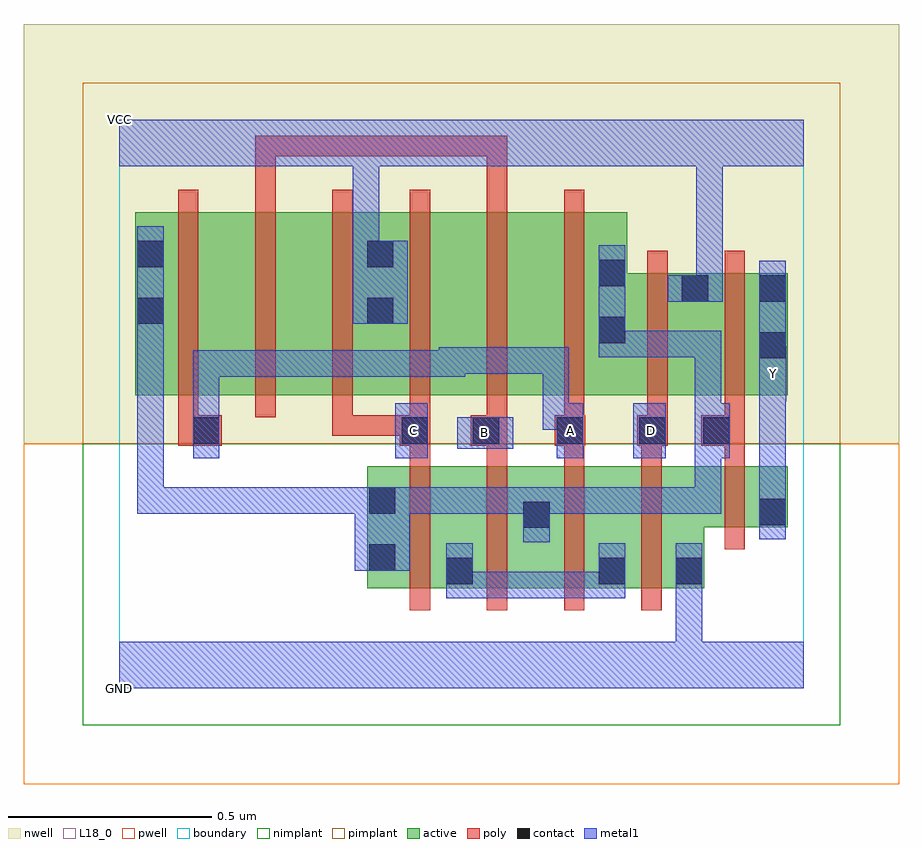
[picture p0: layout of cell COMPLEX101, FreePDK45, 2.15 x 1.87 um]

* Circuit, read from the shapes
.subckt COMPLEX101 A B C D GND VCC Y
M1 n1 C n2 VSUBS nfet w=0.3u l=0.05u
M2 n2 B n1 VSUBS nfet w=0.3u l=0.05u
M3 n1 A n2 VSUBS nfet w=0.3u l=0.05u
M4 GND D n1 VSUBS nfet w=0.3u l=0.05u
M5 Y n2 GND VSUBS nfet w=0.15u l=0.05u
M6 n3 A n2 n4 pfet w=0.45u l=0.05u
M7 n5 B n3 n4 pfet w=0.45u l=0.05u
M8 VCC C n5 n4 pfet w=0.45u l=0.05u
M9 n6 C VCC n4 pfet w=0.45u l=0.05u
M10 n7 B n6 n4 pfet w=0.45u l=0.05u
M11 n2 A n7 n4 pfet w=0.45u l=0.05u
M12 VCC D n2 n4 pfet w=0.3u l=0.05u
M13 Y n2 VCC n4 pfet w=0.3u l=0.05u
.ends

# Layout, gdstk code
import gdstk
lib = gdstk.Library(unit=1e-6, precision=1e-09)
def R(c, l, rs):  # rectangles x0, y0, x1, y1
    for r in rs: c.add(gdstk.rectangle(r[:2], r[2:], *l))
def A(c, l, x, y, w, h, nx, ny, dx, dy):  # array of equal rectangles
    R(c, l, [(x+i*dx, y+j*dy, x+i*dx+w, y+j*dy+h) for i in range(nx) for j in range(ny)])
active = (1, 0)
pwell = (2, 0)
nwell = (3, 0)
nimplant = (4, 0)
pimplant = (5, 0)
poly = (9, 0)
contact = (10, 0)
metal1 = (11, 0)
L18_0 = (18, 0)
boundary = (235, 0)

complex101 = lib.new_cell('COMPLEX101')
R(complex101, active, [(0.61,0.247,0.875,0.547), (0.61,0.247,0.685,0.547), (0.8,0.247,1.065,0.547), (0.8,0.247,0.875,0.392), (0.99,0.247,1.25,0.547), (0.99,0.247,1.065,0.465), (1.175,0.247,1.44,0.547), (1.175,0.247,1.25,0.392), (1.365,0.247,1.44,0.397), (1.365,0.397,1.645,0.547), (1.57,0.397,1.645,0.547), (0.04,0.722,0.265,1.172), (0.04,0.722,0.115,1.107), (0.265,0.722,0.455,1.172), (0.455,0.722,0.68,1.172), (0.605,0.722,0.835,1.172), (0.835,0.722,1.025,1.172), (1.025,0.722,1.25,1.172), (1.175,0.722,1.455,1.022), (1.175,0.722,1.25,1.172), (1.38,0.722,1.645,1.022), (1.38,0.722,1.455,1.022), (1.57,0.722,1.645,1.022), (0.605,0.732,0.68,1.107)])
R(complex101, pwell, [(-0.235,-0.235,1.92,0.602)])
R(complex101, nwell, [(-0.235,0.602,1.92,1.635)])
R(complex101, nimplant, [(-0.09,-0.09,1.775,0.602)])
R(complex101, pimplant, [(-0.09,0.602,1.775,1.49)])
A(complex101, poly, 0.715, 0.192, 0.05, 0.41, 4, 1, 0.19, 0)
A(complex101, poly, 0.715, 0.552, 0.05, 0.095, 4, 1, 0.19, 0)
A(complex101, poly, 0.525, 0.622, 0.05, 0.095, 4, 1, 0.19, 0)
A(complex101, poly, 0.145, 0.667, 0.05, 0.56, 6, 1, 0.19, 0)
R(complex101, poly, [(1.49,0.342,1.54,0.602), (1.49,0.552,1.54,0.647), (0.145,0.597,0.252,0.672), (0.69,0.597,0.765,0.672), (0.865,0.597,0.955,0.672), (1.072,0.597,1.147,0.672), (1.275,0.597,1.35,0.672), (1.432,0.597,1.54,0.672), (0.145,0.622,0.195,0.717), (0.525,0.622,0.575,0.672), (0.525,0.622,0.74,0.672), (0.69,0.622,0.74,0.672), (0.69,0.622,0.74,0.672), (1.3,0.622,1.35,0.717), (1.49,0.622,1.54,0.717), (1.3,0.667,1.35,1.077), (1.49,0.667,1.54,1.077), (0.335,1.177,0.385,1.36), (0.905,1.177,0.955,1.36), (0.335,1.31,0.385,1.36), (0.335,1.31,0.385,1.36), (0.335,1.31,0.385,1.36), (0.335,1.31,0.575,1.36), (0.525,1.31,0.575,1.36), (0.525,1.31,0.575,1.36), (0.525,1.31,0.575,1.36), (0.525,1.31,0.707,1.36), (0.657,1.31,0.707,1.36), (0.657,1.31,0.955,1.36), (0.905,1.31,0.955,1.36), (0.905,1.31,0.955,1.36), (0.905,1.31,0.955,1.36)])
R(complex101, contact, [(0.805,0.257,0.87,0.322), (1.18,0.257,1.245,0.322), (1.37,0.257,1.435,0.322), (0.615,0.29,0.68,0.355), (0.995,0.395,1.06,0.46), (1.575,0.402,1.64,0.467), (0.615,0.43,0.68,0.495), (0.182,0.602,0.247,0.667), (0.695,0.602,0.76,0.667), (0.87,0.602,0.935,0.667), (1.077,0.602,1.142,0.667), (1.28,0.602,1.345,0.667), (1.437,0.602,1.502,0.667), (1.575,0.812,1.64,0.877), (1.18,0.85,1.245,0.915), (0.045,0.897,0.11,0.962), (0.61,0.897,0.675,0.962), (1.385,0.952,1.45,1.017), (1.575,0.952,1.64,1.017), (1.18,0.99,1.245,1.055), (0.045,1.037,0.11,1.102), (0.61,1.037,0.675,1.102)])
R(complex101, metal1, [(0,0,1.685,0.115), (1.37,0.05,1.435,0.115), (1.37,0.05,1.435,0.115), (1.37,0.05,1.435,0.287), (0.805,0.222,0.87,0.287), (0.805,0.222,0.87,0.287), (0.805,0.222,0.87,0.357), (0.805,0.222,1.107,0.287), (1.042,0.222,1.107,0.287), (1.042,0.222,1.107,0.287), (1.042,0.222,1.107,0.287), (1.042,0.222,1.245,0.287), (1.18,0.222,1.245,0.357), (1.37,0.222,1.435,0.357), (0.58,0.29,0.715,0.495), (0.995,0.36,1.06,0.495), (1.575,0.367,1.64,0.502), (0.045,0.43,0.11,0.495), (0.045,0.43,0.247,0.495), (0.045,0.43,0.11,0.927), (0.182,0.43,0.247,0.495), (0.182,0.43,0.247,0.495), (0.182,0.43,0.247,0.495), (0.182,0.43,0.44,0.495), (0.375,0.43,0.44,0.495), (0.375,0.43,0.44,0.495), (0.375,0.43,0.44,0.495), (0.375,0.43,0.577,0.495), (0.512,0.43,0.577,0.495), (0.512,0.43,0.645,0.495), (0.65,0.43,0.715,0.495), (0.65,0.43,0.715,0.495), (0.65,0.43,0.852,0.495), (0.787,0.43,0.852,0.495), (0.787,0.43,0.852,0.495), (0.787,0.43,0.852,0.495), (0.787,0.43,1.06,0.495), (0.995,0.43,1.107,0.495), (1.042,0.43,1.107,0.495), (1.042,0.43,1.277,0.495), (1.212,0.43,1.277,0.495), (1.212,0.43,1.277,0.495), (1.212,0.43,1.277,0.495), (1.212,0.43,1.482,0.495), (1.417,0.43,1.482,0.495), (1.417,0.43,1.482,0.7), (1.575,0.437,1.64,0.772), (0.182,0.567,0.247,0.702), (0.68,0.567,0.76,0.702), (1.077,0.567,1.142,0.702), (1.265,0.567,1.345,0.702), (1.437,0.567,1.502,0.702), (0.832,0.59,0.97,0.667), (1.417,0.635,1.482,0.7), (1.417,0.635,1.502,0.7), (1.417,0.635,1.482,0.88), (0.182,0.637,0.247,0.702), (0.182,0.637,0.247,0.702), (0.182,0.637,0.247,0.832), (1.042,0.637,1.107,0.702), (1.042,0.637,1.142,0.702), (1.042,0.637,1.107,0.84), (1.575,0.707,1.642,0.842), (0.182,0.767,0.247,0.832), (0.182,0.767,0.44,0.832), (0.375,0.767,0.44,0.832), (0.375,0.767,0.44,0.832), (0.375,0.767,0.44,0.832), (0.375,0.767,0.577,0.832), (0.512,0.767,0.577,0.832), (0.512,0.767,0.715,0.832), (0.65,0.767,0.715,0.832), (0.65,0.767,0.715,0.832), (0.65,0.767,0.715,0.832), (0.65,0.767,0.852,0.832), (0.787,0.767,0.852,0.84), (0.787,0.775,0.852,0.84), (0.787,0.775,0.852,0.84), (0.787,0.775,1.107,0.84), (1.042,0.775,1.107,0.84), (1.575,0.777,1.64,0.842), (1.575,0.777,1.64,1.052), (1.18,0.815,1.245,0.88), (1.18,0.815,1.245,0.88), (1.18,0.815,1.245,1.09), (1.18,0.815,1.482,0.88), (1.417,0.815,1.482,0.88), (0.045,0.862,0.11,0.927), (0.045,0.862,0.11,0.927), (0.045,0.862,0.11,1.137), (0.575,0.897,0.71,1.102), (1.35,0.952,1.485,1.017), (1.42,0.952,1.485,1.017), (1.42,0.952,1.485,1.017), (1.42,0.952,1.485,1.017), (1.42,0.952,1.485,1.017), (1.42,0.952,1.485,1.35), (0.575,1.037,0.64,1.35), (0,1.285,1.685,1.4), (0.575,1.285,0.64,1.35), (0.575,1.285,0.64,1.35)])
R(complex101, L18_0, [(0,0,1.685,0.115), (1.37,0.05,1.435,0.115), (1.37,0.05,1.435,0.115), (1.37,0.05,1.435,0.287), (1.37,0.222,1.435,0.357), (1.575,0.367,1.64,0.502), (1.575,0.437,1.64,0.772), (0.182,0.567,0.247,0.702), (0.68,0.567,0.76,0.702), (1.077,0.567,1.142,0.702), (1.265,0.567,1.345,0.702), (0.832,0.59,0.97,0.667), (0.867,0.597,0.932,0.662), (0.692,0.602,0.757,0.667), (1.077,0.602,1.142,0.667), (1.277,0.602,1.342,0.667), (0.182,0.637,0.247,0.702), (0.182,0.637,0.247,0.702), (0.182,0.637,0.247,0.832), (1.042,0.637,1.107,0.702), (1.042,0.637,1.107,0.84), (1.042,0.637,1.142,0.702), (1.575,0.707,1.642,0.842), (1.577,0.742,1.642,0.807), (0.182,0.767,0.247,0.832), (0.182,0.767,0.44,0.832), (0.375,0.767,0.44,0.832), (0.375,0.767,0.44,0.832), (0.375,0.767,0.44,0.832), (0.375,0.767,0.577,0.832), (0.512,0.767,0.577,0.832), (0.512,0.767,0.715,0.832), (0.65,0.767,0.715,0.832), (0.65,0.767,0.715,0.832), (0.65,0.767,0.715,0.832), (0.65,0.767,0.852,0.832), (0.787,0.767,0.852,0.84), (0.787,0.775,0.852,0.84), (0.787,0.775,0.852,0.84), (0.787,0.775,1.107,0.84), (1.042,0.775,1.107,0.84), (1.575,0.777,1.64,0.842), (1.575,0.777,1.64,1.052), (0.575,0.897,0.71,1.102), (1.35,0.952,1.485,1.017), (1.42,0.952,1.485,1.017), (1.42,0.952,1.485,1.017), (1.42,0.952,1.485,1.017), (1.42,0.952,1.485,1.017), (1.42,0.952,1.485,1.35), (0.575,1.037,0.64,1.35), (0,1.285,1.685,1.4), (0.575,1.285,0.64,1.35), (0.575,1.285,0.64,1.35)])
R(complex101, boundary, [(0,0,1.685,1.4)])
complex101.add(gdstk.Label('A', (1.11,0.635), layer=11, texttype=0))
complex101.add(gdstk.Label('B', (0.9,0.63), layer=11, texttype=0))
complex101.add(gdstk.Label('C', (0.725,0.635), layer=11, texttype=0))
complex101.add(gdstk.Label('D', (1.31,0.635), layer=11, texttype=0))
complex101.add(gdstk.Label('Y', (1.61,0.775), layer=11, texttype=0))
complex101.add(gdstk.Label('VCC', (0,1.4), layer=11, texttype=0))
complex101.add(gdstk.Label('GND', (0,0), layer=11, texttype=0))

lib.write_gds('COMPLEX101.gds')
